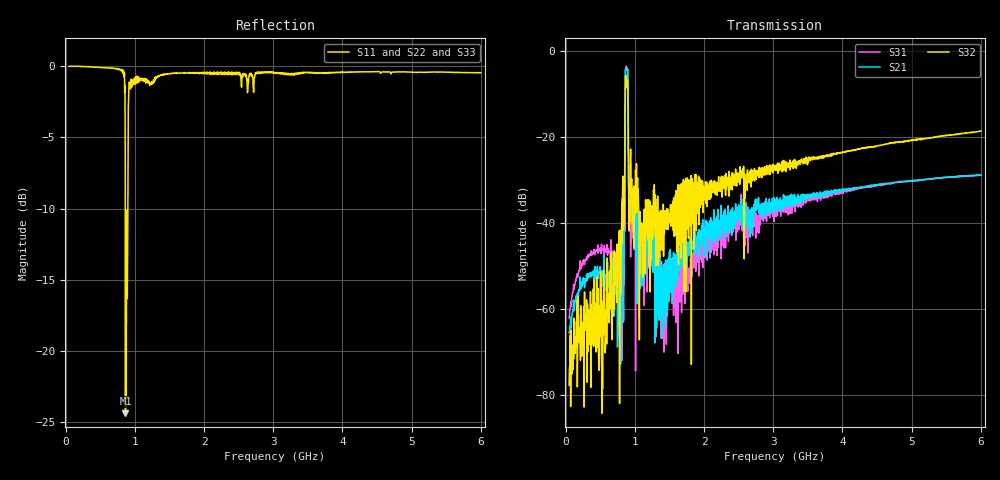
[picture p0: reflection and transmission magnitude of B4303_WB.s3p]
! Matrix data file written by TouchstoneData, EPCOS AG
! FILENAME: "newformat_B4303_x50y50_pcb06_WB.s3p"
! COMMENT: "(B4303_x50y50_pcb06_WB.s3p) Epcos AG 6/23/20"
! INFO: nport=3, nfreq=1601
! DATE: "Wed Oct 12 10:29:05 2011"
! USER: "WeiLong Lin"
! port | pin | signal
!  1  |  1  |  in
!  2  |  2  |  out
!  3  |  4  |  out
# MHZ S MA R 50
! freq  magS11 angS11  magS12 angS12  magS13 angS13  ...
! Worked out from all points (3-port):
!   1601 points, 50 MHz to 6 GHz, reference 50 ohm
!   strongest paths, dB at 50 MHz, 1.538 GHz, 3.025 GHz, 4.513 GHz, 6 GHz:
!     S32: -77.6, -35.6, -27.1, -21.9, -18.5
!     S21: -65.3, -48.4, -36.2, -31.0, -28.8
!     S31: -62.0, -56.3, -36.4, -31.1, -28.8
!   lowest |S11| = -24.4 dB at 864.4 MHz (marker M1), VSWR 1.13, Z = 44.3 - j0.263 ohm
!   |S11| at or under -10 dB: 861.5 MHz to 899.2 MHz (37.71 MHz wide, 4.28 % of centre)
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50  0.9959 -8.3  0.0005385 85.0  0.0009257 82.7
    0.0005416 79.9  0.9992 -4.3  2.641e-05 115.5
    0.0007988 79.2  0.0001318 144.8  0.9977 -4.3
771.4375  0.9694 -111.8  0.00268 2.3  0.001325 -10.0
          0.002683 2.3  0.9804 -71.2  0.004159 -171.8
          0.001312 -10.4  0.00418 -171.8  0.9764 -70.6
819.7812  0.9705 -128.1  0.009884 11.9  0.007807 -175.5
          0.00986 12.0  0.9524 -85.1  0.01861 -57.8
          0.007816 -175.5  0.01867 -57.8  0.9561 -85.5
864.4062  0.06053 -177.2  0.6096 16.2  0.6219 -162.0
          0.6095 16.3  0.4373 124.0  0.4436 119.3
          0.6211 -162.0  0.4438 119.3  0.4151 125.1
890.4375  0.1528 167.6  0.6289 138.3  0.6357 -40.8
          0.6282 138.3  0.3541 -178.3  0.4648 164.0
          0.6351 -40.8  0.4647 163.9  0.3554 -175.1
927.625  0.8701 -73.2  0.01814 29.8  0.01343 -158.0
         0.01811 29.8  0.8968 -42.3  0.01301 63.8
         0.01344 -158.0  0.01305 63.8  0.8928 -42.3
1091.25  0.8888 -108.2  0.003163 12.1  0.002732 76.7
         0.003013 11.9  0.9245 -70.3  0.005953 157.3
         0.002696 76.4  0.006139 157.5  0.9228 -69.8
1425.938  0.9334 -125.4  0.001389 19.0  0.0005862 16.3
          0.001349 18.7  0.9379 -89.6  0.007377 -170.3
          0.0005738 13.7  0.007619 -170.1  0.9304 -87.6
3025  0.9468 -164.7  0.01545 106.2  0.01511 109.2
      0.01541 106.4  0.9257 -142.3  0.04413 130.9
      0.0151 109.1  0.04419 130.9  0.9217 -140.6
6000  0.9458 162.4  0.03643 71.0  0.03641 71.3
      0.03644 71.0  0.9229 171.0  0.1188 82.5
      0.03648 71.3  0.1189 82.4  0.9196 172.5
